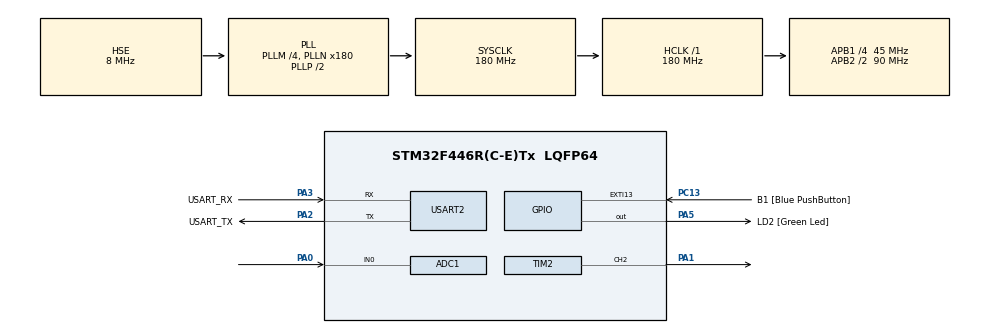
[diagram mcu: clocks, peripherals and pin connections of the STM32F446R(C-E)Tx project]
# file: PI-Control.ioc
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ADC1.Channel-0\#ChannelRegularConversion=ADC_CHANNEL_0
ADC1.ClockPrescaler=ADC_CLOCK_SYNC_PCLK_DIV8
ADC1.ContinuousConvMode=ENABLE
ADC1.NbrOfConversionFlag=1
ADC1.Rank-0\#ChannelRegularConversion=1
ADC1.SamplingTime-0\#ChannelRegularConversion=ADC_SAMPLETIME_3CYCLES
ADC1.master=1
Dma.Request0=USART2_TX
Dma.Request1=USART2_RX
Dma.USART2_RX.1.Direction=DMA_PERIPH_TO_MEMORY
Dma.USART2_RX.1.FIFOMode=DMA_FIFOMODE_DISABLE
Dma.USART2_RX.1.Instance=DMA1_Stream5
Dma.USART2_RX.1.MemDataAlignment=DMA_MDATAALIGN_BYTE
Dma.USART2_RX.1.MemInc=DMA_MINC_ENABLE
Dma.USART2_RX.1.Mode=DMA_NORMAL
Dma.USART2_RX.1.PeriphDataAlignment=DMA_PDATAALIGN_BYTE
Dma.USART2_RX.1.PeriphInc=DMA_PINC_DISABLE
Dma.USART2_RX.1.Priority=DMA_PRIORITY_LOW
Dma.USART2_TX.0.Direction=DMA_MEMORY_TO_PERIPH
Dma.USART2_TX.0.FIFOMode=DMA_FIFOMODE_DISABLE
Dma.USART2_TX.0.Instance=DMA1_Stream6
Dma.USART2_TX.0.MemDataAlignment=DMA_MDATAALIGN_BYTE
Dma.USART2_TX.0.MemInc=DMA_MINC_ENABLE
Dma.USART2_TX.0.Mode=DMA_NORMAL
Dma.USART2_TX.0.PeriphDataAlignment=DMA_PDATAALIGN_BYTE
Dma.USART2_TX.0.PeriphInc=DMA_PINC_DISABLE
Dma.USART2_TX.0.Priority=DMA_PRIORITY_LOW
FREERTOS.Tasks01=defaultTask,0,128,StartDefaultTask,Default,NULL,Dynamic,NULL,NULL
Mcu.Family=STM32F4
Mcu.Name=STM32F446R(C-E)Tx
Mcu.Package=LQFP64
NVIC.DMA1_Stream5_IRQn=true\:5\:0\:false\:false\:true\:true\:false\:true\:true
NVIC.DMA1_Stream6_IRQn=true\:5\:0\:false\:false\:true\:true\:false\:true\:true
NVIC.PriorityGroup=NVIC_PRIORITYGROUP_4
NVIC.TIM6_DAC_IRQn=true\:15\:0\:false\:false\:true\:false\:false\:true\:true
NVIC.TimeBase=TIM6_DAC_IRQn
NVIC.TimeBaseIP=TIM6
NVIC.USART2_IRQn=true\:5\:0\:false\:false\:true\:true\:true\:true\:true
PA0-WKUP.Signal=ADCx_IN0
PA1.Signal=S_TIM2_CH2
PA13.GPIO_Label=TMS
PA13.Mode=Serial_Wire
PA13.Signal=SYS_JTMS-SWDIO
PA14.GPIO_Label=TCK
PA14.Mode=Serial_Wire
PA14.Signal=SYS_JTCK-SWCLK
PA2.GPIO_Label=USART_TX
PA2.Mode=Asynchronous
PA2.Signal=USART2_TX
PA3.GPIO_Label=USART_RX
PA3.Mode=Asynchronous
PA3.Signal=USART2_RX
PA5.GPIO_Label=LD2 [Green Led]
PA5.Signal=GPIO_Output
PB3.GPIO_Label=SWO
PB3.Signal=SYS_JTDO-SWO
PC13.GPIO_Label=B1 [Blue PushButton]
PC13.GPIO_ModeDefaultEXTI=GPIO_MODE_IT_FALLING
PC13.Signal=GPXTI13
PC14-OSC32_IN.Signal=RCC_OSC32_IN
PC15-OSC32_OUT.Signal=RCC_OSC32_OUT
PH0-OSC_IN.Mode=HSE-External-Oscillator
PH0-OSC_IN.Signal=RCC_OSC_IN
PH1-OSC_OUT.Mode=HSE-External-Oscillator
PH1-OSC_OUT.Signal=RCC_OSC_OUT
ProjectManager.HeapSize=0x200
ProjectManager.StackSize=0x400
ProjectManager.TargetToolchain=CMake
RCC.AHBFreq_Value=180000000
RCC.APB1CLKDivider=RCC_HCLK_DIV4
RCC.APB1Freq_Value=45000000
RCC.APB1TimFreq_Value=90000000
RCC.APB2CLKDivider=RCC_HCLK_DIV2
RCC.APB2Freq_Value=90000000
RCC.APB2TimFreq_Value=180000000
RCC.CortexFreq_Value=180000000
RCC.FLatency-AdvancedSettings=FLASH_LATENCY_5
RCC.HCLKFreq_Value=180000000
RCC.HSE_VALUE=8000000
RCC.HSI_VALUE=16000000
RCC.LSE_VALUE=32768
RCC.PLLM=4
RCC.PLLN=180
RCC.PLLSourceVirtual=RCC_PLLSOURCE_HSE
RCC.SYSCLKFreq_VALUE=180000000
RCC.SYSCLKSource=RCC_SYSCLKSOURCE_PLLCLK
RCC.USBFreq_Value=180000000
RCC.VCOOutputFreq_Value=360000000
SH.ADCx_IN0.0=ADC1_IN0,IN0
SH.S_TIM2_CH2.0=TIM2_CH2,PWM Generation2 CH2
TIM2.Channel-PWM\ Generation2\ CH2=TIM_CHANNEL_2
TIM2.Period=1000-1
TIM2.Prescaler=90-1
USART2.VirtualMode=VM_ASYNC
VP_FREERTOS_VS_CMSIS_V1.Mode=CMSIS_V1
VP_SYS_VS_tim6.Mode=TIM6
board=NUCLEO-F446RE

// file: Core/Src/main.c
/* USER CODE BEGIN Header */
/**
  ******************************************************************************
  * @file           : main.c
  * @brief          : Main program body
  ******************************************************************************
  * @attention
  *
  * Copyright (c) 2025 STMicroelectronics.
  * All rights reserved.
  *
  * This software is licensed under terms that can be found in the LICENSE file
  * in the root directory of this software component.
  * If no LICENSE file comes with this software, it is provided AS-IS.
  *
  ******************************************************************************
  */
/* USER CODE END Header */
#include "main.h"
#include "cmsis_os.h"

/* USER CODE BEGIN Includes */
#include "stm32f4xx_hal_tim.h"
#include "uart_driver.h"
#include "logging.h"
#include "fault_module.h"
#include <stdint.h>
#include <string.h>
#include "photocell.h"

/* USER CODE END Includes */

ADC_HandleTypeDef hadc1;

TIM_HandleTypeDef htim2;

UART_HandleTypeDef huart2;
DMA_HandleTypeDef hdma_usart2_tx;
DMA_HandleTypeDef hdma_usart2_rx;

osThreadId defaultTaskHandle;
/* USER CODE BEGIN PV */
uart_drv_t uart_drv;

photoCell_t photocell_sensor;

/* USER CODE END PV */

void SystemClock_Config(void);
static void MX_GPIO_Init(void);
static void MX_DMA_Init(void);
static void MX_ADC1_Init(void);
static void MX_TIM2_Init(void);
static void MX_USART2_UART_Init(void);
void StartDefaultTask(void const * argument);

int main(void)
{

  /* MCU Configuration--------------------------------------------------------*/

  /* Reset of all peripherals, Initializes the Flash interface and the Systick. */
  HAL_Init();

  /* Configure the system clock */
  SystemClock_Config();

  /* Initialize all configured peripherals */
  MX_GPIO_Init();
  MX_DMA_Init();
  MX_ADC1_Init();
  MX_TIM2_Init();
  MX_USART2_UART_Init();
  /* USER CODE BEGIN 2 */

  osDelay(500);

  uart_system_init(&uart_drv, &huart2, &hdma_usart2_tx, &hdma_usart2_rx);

  photoCell_init(&photocell_sensor, &hadc1);
  photoCell_autoCalibrate(&photocell_sensor, &htim2, TIM_CHANNEL_2);

  /* USER CODE END 2 */

  /* Create the thread(s) */
  /* definition and creation of defaultTask */
  osThreadDef(defaultTask, StartDefaultTask, osPriorityNormal, 0, 256);
  defaultTaskHandle = osThreadCreate(osThread(defaultTask), NULL);

  /* Start scheduler */
  osKernelStart();

  /* We should never get here as control is now taken by the scheduler */

  /* Infinite loop */
  while (1)
  {

  }
}

void SystemClock_Config(void)
{
  RCC_OscInitTypeDef RCC_OscInitStruct = {0};
  RCC_ClkInitTypeDef RCC_ClkInitStruct = {0};

  /** Configure the main internal regulator output voltage
  */
  __HAL_RCC_PWR_CLK_ENABLE();
  __HAL_PWR_VOLTAGESCALING_CONFIG(PWR_REGULATOR_VOLTAGE_SCALE1);

  /** Initializes the RCC Oscillators according to the specified parameters
  * in the RCC_OscInitTypeDef structure.
  */
  RCC_OscInitStruct.OscillatorType = RCC_OSCILLATORTYPE_HSE;
  RCC_OscInitStruct.HSEState = RCC_HSE_ON;
  RCC_OscInitStruct.PLL.PLLState = RCC_PLL_ON;
  RCC_OscInitStruct.PLL.PLLSource = RCC_PLLSOURCE_HSE;
  RCC_OscInitStruct.PLL.PLLM = 4;
  RCC_OscInitStruct.PLL.PLLN = 180;
  RCC_OscInitStruct.PLL.PLLP = RCC_PLLP_DIV2;
  RCC_OscInitStruct.PLL.PLLQ = 2;
  RCC_OscInitStruct.PLL.PLLR = 2;
  if (HAL_RCC_OscConfig(&RCC_OscInitStruct) != HAL_OK)
  {
    Error_Handler();
  }

  /** Activate the Over-Drive mode
  */
  if (HAL_PWREx_EnableOverDrive() != HAL_OK)
  {
    Error_Handler();
  }

  /** Initializes the CPU, AHB and APB buses clocks
  */
  RCC_ClkInitStruct.ClockType = RCC_CLOCKTYPE_HCLK|RCC_CLOCKTYPE_SYSCLK
                              |RCC_CLOCKTYPE_PCLK1|RCC_CLOCKTYPE_PCLK2;
  RCC_ClkInitStruct.SYSCLKSource = RCC_SYSCLKSOURCE_PLLCLK;
  RCC_ClkInitStruct.AHBCLKDivider = RCC_SYSCLK_DIV1;
  RCC_ClkInitStruct.APB1CLKDivider = RCC_HCLK_DIV4;
  RCC_ClkInitStruct.APB2CLKDivider = RCC_HCLK_DIV2;

  if (HAL_RCC_ClockConfig(&RCC_ClkInitStruct, FLASH_LATENCY_5) != HAL_OK)
  {
    Error_Handler();
  }
}

static void MX_ADC1_Init(void)
{

  ADC_ChannelConfTypeDef sConfig = {0};

  /** Configure the global features of the ADC (Clock, Resolution, Data Alignment and number of conversion)
  */
  hadc1.Instance = ADC1;
  hadc1.Init.ClockPrescaler = ADC_CLOCK_SYNC_PCLK_DIV8;
  hadc1.Init.Resolution = ADC_RESOLUTION_12B;
  hadc1.Init.ScanConvMode = DISABLE;
  hadc1.Init.ContinuousConvMode = ENABLE;
  hadc1.Init.DiscontinuousConvMode = DISABLE;
  hadc1.Init.ExternalTrigConvEdge = ADC_EXTERNALTRIGCONVEDGE_NONE;
  hadc1.Init.ExternalTrigConv = ADC_SOFTWARE_START;
  hadc1.Init.DataAlign = ADC_DATAALIGN_RIGHT;
  hadc1.Init.NbrOfConversion = 1;
  hadc1.Init.DMAContinuousRequests = DISABLE;
  hadc1.Init.EOCSelection = ADC_EOC_SINGLE_CONV;
  if (HAL_ADC_Init(&hadc1) != HAL_OK)
  {
    Error_Handler();
  }

  /** Configure for the selected ADC regular channel its corresponding rank in the sequencer and its sample time.
  */
  sConfig.Channel = ADC_CHANNEL_0;
  sConfig.Rank = 1;
  sConfig.SamplingTime = ADC_SAMPLETIME_3CYCLES;
  if (HAL_ADC_ConfigChannel(&hadc1, &sConfig) != HAL_OK)
  {
    Error_Handler();
  }

}

static void MX_TIM2_Init(void)
{

  TIM_MasterConfigTypeDef sMasterConfig = {0};
  TIM_OC_InitTypeDef sConfigOC = {0};

  htim2.Instance = TIM2;
  htim2.Init.Prescaler = 90-1;
  htim2.Init.CounterMode = TIM_COUNTERMODE_UP;
  htim2.Init.Period = 1000-1;
  htim2.Init.ClockDivision = TIM_CLOCKDIVISION_DIV1;
  htim2.Init.AutoReloadPreload = TIM_AUTORELOAD_PRELOAD_DISABLE;
  if (HAL_TIM_PWM_Init(&htim2) != HAL_OK)
  {
    Error_Handler();
  }
  sMasterConfig.MasterOutputTrigger = TIM_TRGO_RESET;
  sMasterConfig.MasterSlaveMode = TIM_MASTERSLAVEMODE_DISABLE;
  if (HAL_TIMEx_MasterConfigSynchronization(&htim2, &sMasterConfig) != HAL_OK)
  {
    Error_Handler();
  }
  sConfigOC.OCMode = TIM_OCMODE_PWM1;
  sConfigOC.Pulse = 0;
  sConfigOC.OCPolarity = TIM_OCPOLARITY_HIGH;
  sConfigOC.OCFastMode = TIM_OCFAST_DISABLE;
  if (HAL_TIM_PWM_ConfigChannel(&htim2, &sConfigOC, TIM_CHANNEL_2) != HAL_OK)
  {
    Error_Handler();
  }
  HAL_TIM_MspPostInit(&htim2);

}

static void MX_USART2_UART_Init(void)
{

  huart2.Instance = USART2;
  huart2.Init.BaudRate = 115200;
  huart2.Init.WordLength = UART_WORDLENGTH_8B;
  huart2.Init.StopBits = UART_STOPBITS_1;
  huart2.Init.Parity = UART_PARITY_NONE;
  huart2.Init.Mode = UART_MODE_TX_RX;
  huart2.Init.HwFlowCtl = UART_HWCONTROL_NONE;
  huart2.Init.OverSampling = UART_OVERSAMPLING_16;
  if (HAL_UART_Init(&huart2) != HAL_OK)
  {
    Error_Handler();
  }

}

static void MX_DMA_Init(void)
{

  /* DMA controller clock enable */
  __HAL_RCC_DMA1_CLK_ENABLE();

  /* DMA interrupt init */
  /* DMA1_Stream5_IRQn interrupt configuration */
  HAL_NVIC_SetPriority(DMA1_Stream5_IRQn, 5, 0);
  HAL_NVIC_EnableIRQ(DMA1_Stream5_IRQn);
  /* DMA1_Stream6_IRQn interrupt configuration */
  HAL_NVIC_SetPriority(DMA1_Stream6_IRQn, 5, 0);
  HAL_NVIC_EnableIRQ(DMA1_Stream6_IRQn);

}

static void MX_GPIO_Init(void)
{
  GPIO_InitTypeDef GPIO_InitStruct = {0};

  /* GPIO Ports Clock Enable */
  __HAL_RCC_GPIOC_CLK_ENABLE();
  __HAL_RCC_GPIOH_CLK_ENABLE();
  __HAL_RCC_GPIOA_CLK_ENABLE();
  __HAL_RCC_GPIOB_CLK_ENABLE();

  /*Configure GPIO pin Output Level */
  HAL_GPIO_WritePin(LD2_GPIO_Port, LD2_Pin, GPIO_PIN_RESET);

  /*Configure GPIO pin : B1_Pin */
  GPIO_InitStruct.Pin = B1_Pin;
  GPIO_InitStruct.Mode = GPIO_MODE_IT_FALLING;
  GPIO_InitStruct.Pull = GPIO_NOPULL;
  HAL_GPIO_Init(B1_GPIO_Port, &GPIO_InitStruct);

  /*Configure GPIO pin : LD2_Pin */
  GPIO_InitStruct.Pin = LD2_Pin;
  GPIO_InitStruct.Mode = GPIO_MODE_OUTPUT_PP;
  GPIO_InitStruct.Pull = GPIO_NOPULL;
  GPIO_InitStruct.Speed = GPIO_SPEED_FREQ_LOW;
  HAL_GPIO_Init(LD2_GPIO_Port, &GPIO_InitStruct);

}

void StartDefaultTask(void const * argument)
{
  /* USER CODE BEGIN 5 */
  float adc_value = 0.0f;
  /* Infinite loop */
  for(;;)
  {
    osDelay(1000);

    // Test direct UART output first
    const char* test_msg = "Direct UART test - Default task running\r\n";
    HAL_UART_Transmit(&huart2, (uint8_t*)test_msg, strlen(test_msg), 1000);

    log_write(LOG_LEVEL_INFO, "Default task running");

    // Read the photocell sensor
    adc_value = readSensor(&photocell_sensor);

    if (photocell_sensor.scaled) {
        log_write(LOG_LEVEL_INFO, "Scaled light level: %.2f%%", photocell_sensor.current_level);
    } else {
        log_write(LOG_LEVEL_INFO, "Raw ADC value: %d", photocell_sensor.last_raw_value);
    }

    // set diode brightness randomly
    if (photocell_sensor.htim != NULL && photocell_sensor.pwm_channel != UINT32_MAX) {
        uint32_t pwm_value = (uint32_t)(adc_value * 10.0f); // Scale to 0-1000 for 10-bit PWM
        set_pwm(photocell_sensor.htim, photocell_sensor.pwm_channel, pwm_value);
    } else {
        log_write(LOG_LEVEL_ERROR, "PWM not configured for photocell sensor");
    }

  }
  /* USER CODE END 5 */
}

void HAL_TIM_PeriodElapsedCallback(TIM_HandleTypeDef *htim)
{
  if (htim->Instance == TIM6)
  {
    HAL_IncTick();
  }
}

void Error_Handler(void)
{
  __disable_irq();
  while (1)
  {
  }
}
